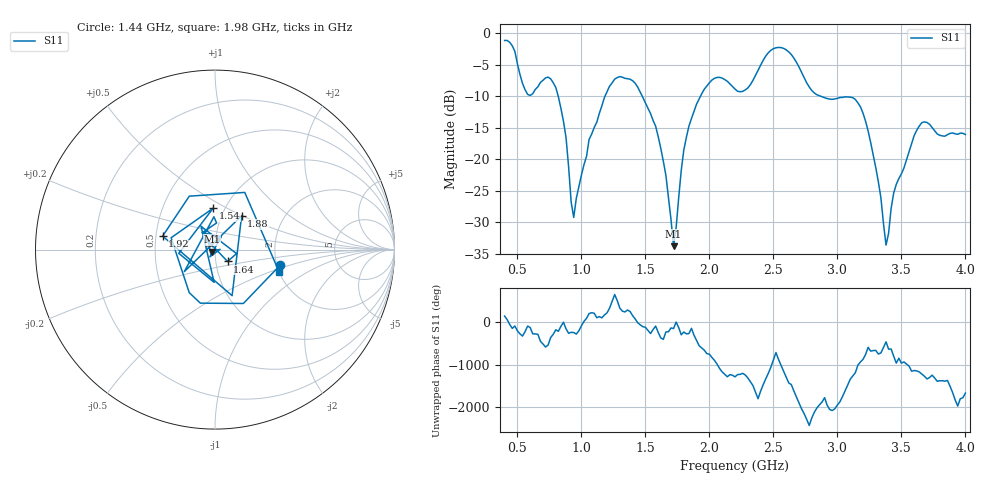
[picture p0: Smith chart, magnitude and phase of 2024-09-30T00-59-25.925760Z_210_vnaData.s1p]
!Created with skrf (http://scikit-rf.org).
# Hz S RI R 50.0
!freq ReS11 ImS11
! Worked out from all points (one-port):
!   181 points, 400 MHz to 4 GHz, reference 50 ohm
!   lowest |S11| = -33.8 dB at 1.72 GHz (marker M1), VSWR 1.04, Z = 48.3 - j1.03 ohm
!   |S11| at or under -10 dB: 818.7 MHz to 1.185 GHz (365.9 MHz wide, 36.5 % of centre); 1.475 GHz to 1.931 GHz (455.3 MHz wide, 26.7 % of centre); 2.869 GHz to end of sweep
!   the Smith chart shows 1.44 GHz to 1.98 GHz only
!   S11 on the Smith chart (normalised r, x): 1.44 GHz: 2.08, -0.42; 1.54 GHz: 0.88, +0.43; 1.64 GHz: 1.14, -0.15; 1.88 GHz: 1.24, +0.50; 1.92 GHz: 0.54, +0.09; 1.98 GHz: 2.00, -0.60
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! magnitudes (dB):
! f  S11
! 400 MHz  -1.2
! 580 MHz  -9.7
! 760 MHz  -7.3
! 860 MHz  -14.0
! 940 MHz  -29.3
! 1.06 GHz  -16.9
! 1.3 GHz  -6.9
! 1.44 GHz  -8.6
! 1.54 GHz  -12.7
! 1.64 GHz  -20.3
! 1.72 GHz  -33.8
! 1.76 GHz  -26.1
! 1.8 GHz  -18.6
! 1.88 GHz  -12.4
! 1.92 GHz  -10.4
! 1.98 GHz  -8.4
! 2.2 GHz  -8.9
! 2.5 GHz  -2.5
! 2.66 GHz  -4.0
! 2.84 GHz  -9.8
! 3.1 GHz  -10.2
! 3.24 GHz  -15.5
! 3.34 GHz  -26.2
! 3.38 GHz  -33.6
! 3.44 GHz  -25.4
! 3.56 GHz  -18.9
! 3.66 GHz  -14.2
! 4 GHz  -16.1
